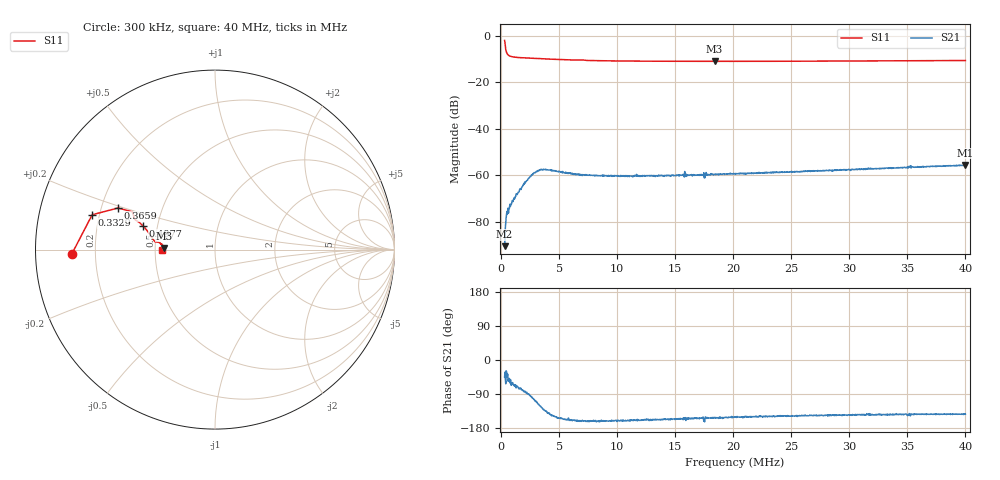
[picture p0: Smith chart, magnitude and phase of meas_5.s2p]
# HZ S RI R 50
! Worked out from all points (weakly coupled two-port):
!   1206 points, 300 kHz to 40 MHz, reference 50 ohm
!   highest |S21| = -55.53 dB at 39.97 MHz (marker M1); lowest = -90.4 dB at 300 kHz (marker M2)
!   lowest |S11| = -11.0 dB at 18.39 MHz (marker M3), VSWR 1.79, Z = 27.9 + j0.552 ohm
!   |S11| at or under -10 dB: 4.282 MHz to end of sweep
!   S12 and S22 are empty: the file has one direction only
!   S11 on the Smith chart (normalised r, x): 300 kHz: 0.11, -0.01; 332.9 kHz: 0.17, +0.13; 365.9 kHz: 0.27, +0.19; 497.7 kHz: 0.41, +0.13; 40 MHz: 0.54, -0.00
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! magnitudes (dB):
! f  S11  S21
! 300 kHz  -2.0  -90.4
! 332.9 kHz  -3.0  -87.5
! 365.9 kHz  -4.6  -82.3
! 497.7 kHz  -7.5  -75.5
! 596.5 kHz  -8.2  -74.1
! 761.2 kHz  -8.7  -72.4
! 1.124 MHz  -9.1  -69.6
! 1.486 MHz  -9.3  -67.3
! 2.013 MHz  -9.5  -63.5
! 2.441 MHz  -9.6  -60.9
! 3.002 MHz  -9.7  -58.5
! 3.364 MHz  -9.8  -57.6
! 3.825 MHz  -9.9  -57.5
! 6.922 MHz  -10.4  -59.7
! 11.17 MHz  -10.8  -60.3
! 13.54 MHz  -10.9  -60.0
! 18.39 MHz  -11.0  -59.6
! 20.17 MHz  -10.9  -59.3
! 26.79 MHz  -10.9  -58.0
! 33.41 MHz  -10.8  -56.8
! 39.97 MHz  -10.6  -55.5
! 40 MHz  -10.6  -55.6
